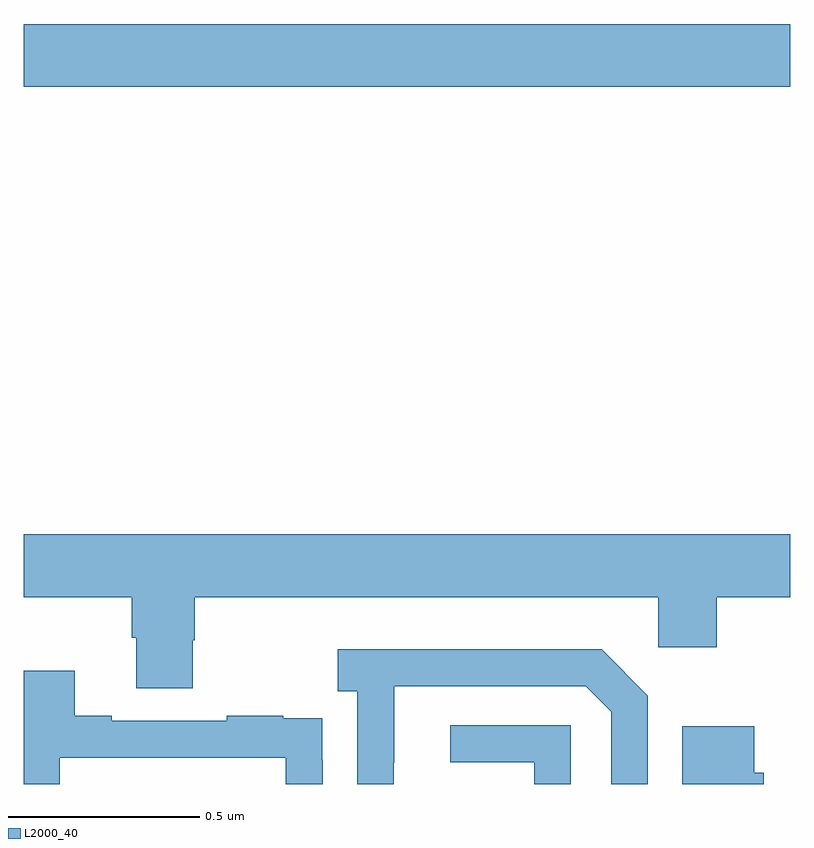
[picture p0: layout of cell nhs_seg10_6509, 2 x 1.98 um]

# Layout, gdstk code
import gdstk
lib = gdstk.Library(unit=1e-6, precision=1e-09)
def R(c, l, rs):  # rectangles x0, y0, x1, y1
    for r in rs: c.add(gdstk.rectangle(r[:2], r[2:], *l))
def P(c, l, *ps):  # polygons
    for p in ps: c.add(gdstk.Polygon(p, *l))
L2000_40 = (2000, 40)

nhs_seg10_6509 = lib.new_cell('nhs_seg10_6509')
R(nhs_seg10_6509, L2000_40, [(192,1296.32,194,1296.484)])
P(nhs_seg10_6509, L2000_40, [(192.441,1294.875),(192.446,1294.875),(192.446,1294.988),(193.656,1294.988),(193.656,1294.857),(193.808,1294.857),(193.808,1294.988),(194,1294.988),(194,1295.152),(192,1295.152),(192,1294.988),(192.281,1294.988),(192.281,1294.882),(192.293,1294.882),(192.293,1294.75),(192.441,1294.75)],
  [(192.966,1294.555),(192.967,1294.555),(192.967,1294.755),(193.467,1294.755),(193.533,1294.689),(193.533,1294.5),(193.629,1294.5),(193.629,1294.731),(193.508,1294.852),(192.819,1294.852),(192.819,1294.742),(192.87,1294.742),(192.87,1294.5),(192.966,1294.5)],
  [(192.093,1294.569),(192.684,1294.569),(192.684,1294.5),(192.78,1294.5),(192.78,1294.562),(192.779,1294.562),(192.779,1294.671),(192.677,1294.671),(192.677,1294.678),(192.529,1294.678),(192.529,1294.665),(192.229,1294.665),(192.229,1294.678),(192.133,1294.678),(192.133,1294.795),(192,1294.795),(192,1294.5),(192.093,1294.5)],
  [(193.428,1294.653),(193.113,1294.653),(193.113,1294.557),(193.332,1294.557),(193.332,1294.5),(193.428,1294.5)],
  [(193.931,1294.53),(193.906,1294.53),(193.906,1294.651),(193.718,1294.651),(193.718,1294.5),(193.931,1294.5)])

lib.write_gds('nhs_seg10_6509.gds')
